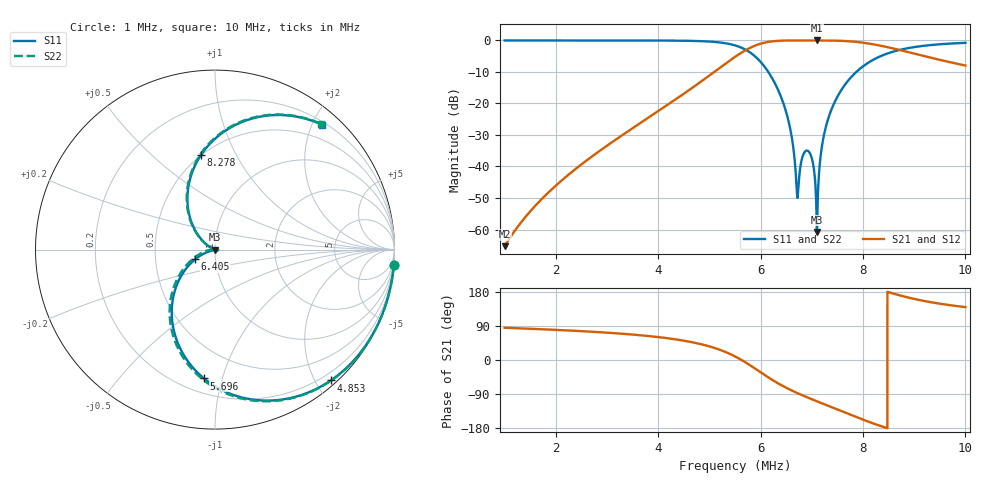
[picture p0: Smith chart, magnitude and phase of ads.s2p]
! Created Sun Jan 11 17:40:14 2026
# hz S ma R 50
! 2 Port Network Data from SP1.SP block
! freq  magS11  angS11  magS21  angS21  magS12  angS12  magS22  angS22
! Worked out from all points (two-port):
!   10001 points, 1 MHz to 10 MHz, reference 50 ohm
!   highest |S21| = 0.00 dB at 7.098 MHz (marker M1); lowest = -65.3 dB at 1 MHz (marker M2)
!   |S21| within 3 dB of the highest: 5.717 MHz to 8.711 MHz (2.995 MHz wide, 41.5 % of centre)
!   lowest |S11| = -60.8 dB at 7.101 MHz (marker M3), VSWR 1.00, Z = 50 - j0.0844 ohm
!   |S11| at or under -10 dB: 6.151 MHz to 7.869 MHz (1.718 MHz wide, 24.5 % of centre)
!   |S22| runs from -58.4 to 0.0 dB; largest |S21 - S12| = 0
!   S11 on the Smith chart (normalised r, x): 1 MHz: 0, -24; 4.853 MHz: 0.08, -2.22; 5.696 MHz: 0.29, -0.88; 6.405 MHz: 0.80, -0.09; 8.278 MHz: 0.50, +0.73; 10 MHz: 0.25, +2.15
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1000000  1 -4.9  0.000544 85.1  0.000544 85.1  1 -4.9
1647100  1 -8.3  0.00262 81.6  0.00262 81.6  1 -8.4
2500300  0.9999 -13.8  0.0108 76.2  0.0108 76.2  0.9999 -13.9
4000600  0.9971 -29.3  0.07555 60.5  0.07555 60.5  0.9971 -29.7
4852900  0.9736 -48.5  0.2276 41.2  0.2276 41.2  0.9736 -49.1
5500000  0.8354 -80.0  0.549 9.5  0.549 9.5  0.8354 -81.0
5696200  0.7207 -94.9  0.6926 -5.5  0.6926 -5.5  0.7207 -96.1
6019300  0.4388 -123.3  0.898 -34.3  0.898 -34.3  0.4388 -125.2
6405400  0.1231 -154.0  0.9919 -66.5  0.9919 -66.5  0.1231 -158.8
6587200  0.03654 -162.7  0.9989 -79.1  0.9989 -79.1  0.03652 -175.2
6716800  0.003215 -95.1  0.9996 -87.3  0.9996 -87.3  0.003174 100.8
6855400  0.01673 -13.4  0.9994 -95.4  0.9994 -95.4  0.01674 2.8
7000300  0.01351 -19.8  0.9995 -103.5  0.9995 -103.5  0.01353 -6.4
7098400  0.001018 -84.5  0.9996 -108.9  0.9996 -108.9  0.001279 52.1
7101100  0.000914 -112.4  0.9996 -109.1  0.9996 -109.1  0.001199 73.7
7222600  0.02737 154.9  0.9992 -115.6  0.9992 -115.6  0.02738 153.0
7420600  0.09453 143.3  0.9951 -126.3  0.9951 -126.3  0.09453 143.8
7777900  0.2668 123.9  0.9632 -145.6  0.9632 -145.6  0.2668 124.7
8278300  0.5322 98.5  0.8461 -171.1  0.8461 -171.1  0.5322 99.2
8500600  0.6302 88.7  0.7758 179.0  0.7758 179.0  0.6302 89.3
9104500  0.8072 67.9  0.5898 158.2  0.5898 158.2  0.8072 68.4
1e7  0.9164 49.4  0.3999 139.6  0.3999 139.6  0.9164 49.8
